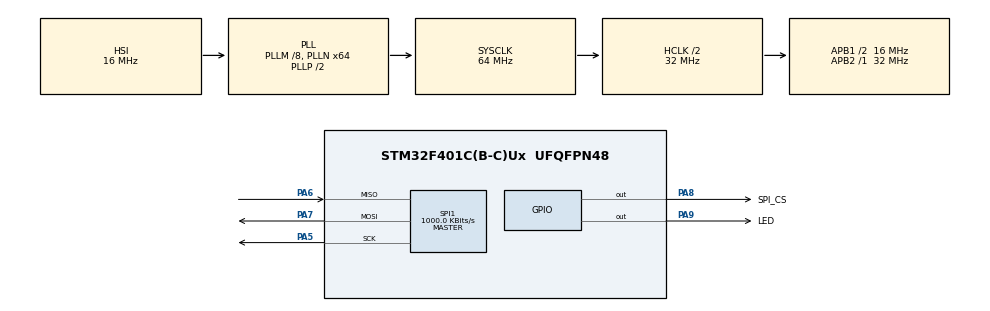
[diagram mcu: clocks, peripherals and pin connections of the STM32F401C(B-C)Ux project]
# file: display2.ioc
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Mcu.Family=STM32F4
Mcu.Name=STM32F401C(B-C)Ux
Mcu.Package=UFQFPN48
NVIC.PriorityGroup=NVIC_PRIORITYGROUP_4
PA5.Mode=Full_Duplex_Master
PA5.Signal=SPI1_SCK
PA6.Mode=Full_Duplex_Master
PA6.Signal=SPI1_MISO
PA7.Mode=Full_Duplex_Master
PA7.Signal=SPI1_MOSI
PA8.GPIO_Label=SPI_CS
PA8.Signal=GPIO_Output
PA9.GPIO_Label=LED
PA9.Signal=GPIO_Output
PH0\ -\ OSC_IN.Mode=HSE-External-Oscillator
PH0\ -\ OSC_IN.Signal=RCC_OSC_IN
PH1\ -\ OSC_OUT.Mode=HSE-External-Oscillator
PH1\ -\ OSC_OUT.Signal=RCC_OSC_OUT
ProjectManager.HeapSize=0x200
ProjectManager.StackSize=0x400
ProjectManager.TargetToolchain=STM32CubeIDE
RCC.48MHZClocksFreq_Value=32000000
RCC.AHBCLKDivider=RCC_SYSCLK_DIV2
RCC.AHBFreq_Value=32000000
RCC.APB1CLKDivider=RCC_HCLK_DIV2
RCC.APB1Freq_Value=16000000
RCC.APB1TimFreq_Value=32000000
RCC.APB2Freq_Value=32000000
RCC.APB2TimFreq_Value=32000000
RCC.CortexFreq_Value=32000000
RCC.HCLKFreq_Value=32000000
RCC.HSE_VALUE=25000000
RCC.HSI_VALUE=16000000
RCC.LSE_VALUE=32768
RCC.PLLM=8
RCC.PLLN=64
RCC.SYSCLKFreq_VALUE=64000000
RCC.SYSCLKSource=RCC_SYSCLKSOURCE_PLLCLK
RCC.VCOOutputFreq_Value=128000000
SPI1.BaudRatePrescaler=SPI_BAUDRATEPRESCALER_32
SPI1.CalculateBaudRate=1000.0 KBits/s
SPI1.Direction=SPI_DIRECTION_2LINES
SPI1.Mode=SPI_MODE_MASTER
SPI1.VirtualType=VM_MASTER
VP_MBEDTLS_VS_MBEDTLS.Mode=Enabled
VP_wolfSSL.I-CUBE-wolfSSL_VS_wolfSSLJjwolfSSL_5.7.0_5.7.0.Mode=wolfSSLJjwolfSSL
board=custom
wolfSSL.I-CUBE-wolfSSL.5.7.0.WOLF_CONF_AESCBC=1
wolfSSL.I-CUBE-wolfSSL.5.7.0.WOLF_CONF_ECC=0
wolfSSL.I-CUBE-wolfSSL.5.7.0.WOLF_CONF_RNG=0
wolfSSL.I-CUBE-wolfSSL.5.7.0.WOLF_CONF_TLS12=0
wolfSSL.I-CUBE-wolfSSL.5.7.0.WOLF_CONF_TLS13=0
wolfSSL.I-CUBE-wolfSSL.5.7.0.wolfSSLCcwolfSSLJjwolfCryptJjCore=true

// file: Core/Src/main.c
/* USER CODE BEGIN Header */
/**
  ******************************************************************************
  * @file           : main.c
  * @brief          : Main program body
  ******************************************************************************
  * @attention
  *
  * Copyright (c) 2024 STMicroelectronics.
  * All rights reserved.
  *
  * This software is licensed under terms that can be found in the LICENSE file
  * in the root directory of this software component.
  * If no LICENSE file comes with this software, it is provided AS-IS.
  *
  ******************************************************************************
  */
/* USER CODE END Header */
#include "main.h"
#include "mbedtls.h"

/* USER CODE BEGIN Includes */
#include "../Middlewares/Third_Party/wolfSSL_wolfSSL_wolfSSL/wolfssl/wolfssl/wolfcrypt/aes.h"
#include "../Middlewares/Third_Party/wolfSSL_wolfSSL_wolfSSL/wolfssl/wolfssl/wolfcrypt/cmac.h"
#include "../Middlewares/Third_Party/wolfSSL_wolfSSL_wolfSSL/wolfssl/wolfssl/wolfcrypt/cryptocb.h"
#include "../Middlewares/Third_Party/wolfSSL_wolfSSL_wolfSSL/wolfssl/wolfssl/wolfcrypt/types.h"
/* USER CODE END Includes */

/* USER CODE BEGIN PM */
uint8_t Cmd_End[3] = {0xFF,0xFF,0xFF};  // command end sequence
uCAN_MSG txMessage;
uCAN_MSG rxMessage;

/* USER CODE END PM */

SPI_HandleTypeDef hspi1;

void SystemClock_Config(void);
static void MX_GPIO_Init(void);
static void MX_SPI1_Init(void);

int main(void)
{

  /* MCU Configuration--------------------------------------------------------*/

  /* Reset of all peripherals, Initializes the Flash interface and the Systick. */
  HAL_Init();

  /* Configure the system clock */
  SystemClock_Config();

  /* Initialize all configured peripherals */
  MX_GPIO_Init();
  MX_SPI1_Init();
  MX_MBEDTLS_Init();
  /* USER CODE BEGIN 2 */
  HAL_GPIO_WritePin(LED_GPIO_Port, LED_Pin, GPIO_PIN_RESET);

  Aes enc;
  int ret_ = 0;
  void* HEAP_HINT =0;
  byte key[] = { 0,1,2,3,4,5,6,7,8,9,10,11,12,13,14,15};
  byte iv[]  = { 0,1,2,3,4,5,6,7,8,9,10,11,12,13,14,15};
  if (ret_ = wc_AesInit(&enc, HEAP_HINT, INVALID_DEVID) != 0) {
      // failed to initialize aes key
  }
  if (ret_ = wc_AesSetKey(&enc, key, AES_BLOCK_SIZE, iv,
  AES_ENCRYPTION) != 0) {
  // failed to set aes key
  }

  if (ret_ = wc_AesSetIV(&enc, iv) != 0) {
  // failed to set aes iv
  }

  byte msg[AES_BLOCK_SIZE * 5] = {12,13,14,15,16}; // multiple of 16 bytes
  // fill msg with data
  byte cipher[AES_BLOCK_SIZE * 5]; // Some multiple of 16 bytes
  if ((ret_ = wc_AesCbcEncrypt(&enc, cipher, msg, sizeof(msg))) != 0 ) {
  // block align error
  }

    int ret;
    ret = CANSPI_Initialize();
    if(ret < 0){
    	  HAL_GPIO_WritePin(LED_GPIO_Port, LED_Pin, GPIO_PIN_SET);
    	  while(1){}
    }

  /* USER CODE END 2 */

  /* Infinite loop */
  while (1)
  {

    /* USER CODE BEGIN 3 */

	  if(CANSPI_Receive(&rxMessage)){
	  	  if(rxMessage.frame.id == 0x0A){
	  		  if(rxMessage.frame.data0 == 1){
	  			  HAL_GPIO_WritePin(LED_GPIO_Port, LED_Pin, GPIO_PIN_SET);
	  		  }else{
	  			  HAL_GPIO_WritePin(LED_GPIO_Port, LED_Pin, GPIO_PIN_RESET);
	  		  }
	  	  }

	  }

  }
  /* USER CODE END 3 */
}

void SystemClock_Config(void)
{
  RCC_OscInitTypeDef RCC_OscInitStruct = {0};
  RCC_ClkInitTypeDef RCC_ClkInitStruct = {0};

  /** Configure the main internal regulator output voltage
  */
  __HAL_RCC_PWR_CLK_ENABLE();
  __HAL_PWR_VOLTAGESCALING_CONFIG(PWR_REGULATOR_VOLTAGE_SCALE2);

  /** Initializes the RCC Oscillators according to the specified parameters
  * in the RCC_OscInitTypeDef structure.
  */
  RCC_OscInitStruct.OscillatorType = RCC_OSCILLATORTYPE_HSI;
  RCC_OscInitStruct.HSIState = RCC_HSI_ON;
  RCC_OscInitStruct.HSICalibrationValue = RCC_HSICALIBRATION_DEFAULT;
  RCC_OscInitStruct.PLL.PLLState = RCC_PLL_ON;
  RCC_OscInitStruct.PLL.PLLSource = RCC_PLLSOURCE_HSI;
  RCC_OscInitStruct.PLL.PLLM = 8;
  RCC_OscInitStruct.PLL.PLLN = 64;
  RCC_OscInitStruct.PLL.PLLP = RCC_PLLP_DIV2;
  RCC_OscInitStruct.PLL.PLLQ = 4;
  if (HAL_RCC_OscConfig(&RCC_OscInitStruct) != HAL_OK)
  {
    Error_Handler();
  }

  /** Initializes the CPU, AHB and APB buses clocks
  */
  RCC_ClkInitStruct.ClockType = RCC_CLOCKTYPE_HCLK|RCC_CLOCKTYPE_SYSCLK
                              |RCC_CLOCKTYPE_PCLK1|RCC_CLOCKTYPE_PCLK2;
  RCC_ClkInitStruct.SYSCLKSource = RCC_SYSCLKSOURCE_PLLCLK;
  RCC_ClkInitStruct.AHBCLKDivider = RCC_SYSCLK_DIV2;
  RCC_ClkInitStruct.APB1CLKDivider = RCC_HCLK_DIV2;
  RCC_ClkInitStruct.APB2CLKDivider = RCC_HCLK_DIV1;

  if (HAL_RCC_ClockConfig(&RCC_ClkInitStruct, FLASH_LATENCY_1) != HAL_OK)
  {
    Error_Handler();
  }
}

static void MX_SPI1_Init(void)
{

  /* SPI1 parameter configuration*/
  hspi1.Instance = SPI1;
  hspi1.Init.Mode = SPI_MODE_MASTER;
  hspi1.Init.Direction = SPI_DIRECTION_2LINES;
  hspi1.Init.DataSize = SPI_DATASIZE_8BIT;
  hspi1.Init.CLKPolarity = SPI_POLARITY_LOW;
  hspi1.Init.CLKPhase = SPI_PHASE_1EDGE;
  hspi1.Init.NSS = SPI_NSS_SOFT;
  hspi1.Init.BaudRatePrescaler = SPI_BAUDRATEPRESCALER_32;
  hspi1.Init.FirstBit = SPI_FIRSTBIT_MSB;
  hspi1.Init.TIMode = SPI_TIMODE_DISABLE;
  hspi1.Init.CRCCalculation = SPI_CRCCALCULATION_DISABLE;
  hspi1.Init.CRCPolynomial = 10;
  if (HAL_SPI_Init(&hspi1) != HAL_OK)
  {
    Error_Handler();
  }

}

static void MX_GPIO_Init(void)
{
  GPIO_InitTypeDef GPIO_InitStruct = {0};

  /* GPIO Ports Clock Enable */
  __HAL_RCC_GPIOH_CLK_ENABLE();
  __HAL_RCC_GPIOA_CLK_ENABLE();

  /*Configure GPIO pin Output Level */
  HAL_GPIO_WritePin(GPIOA, SPI_CS_Pin|LED_Pin, GPIO_PIN_RESET);

  /*Configure GPIO pins : SPI_CS_Pin LED_Pin */
  GPIO_InitStruct.Pin = SPI_CS_Pin|LED_Pin;
  GPIO_InitStruct.Mode = GPIO_MODE_OUTPUT_PP;
  GPIO_InitStruct.Pull = GPIO_NOPULL;
  GPIO_InitStruct.Speed = GPIO_SPEED_FREQ_LOW;
  HAL_GPIO_Init(GPIOA, &GPIO_InitStruct);

}

void Error_Handler(void)
{
  __disable_irq();
  while (1)
  {
  }
}
